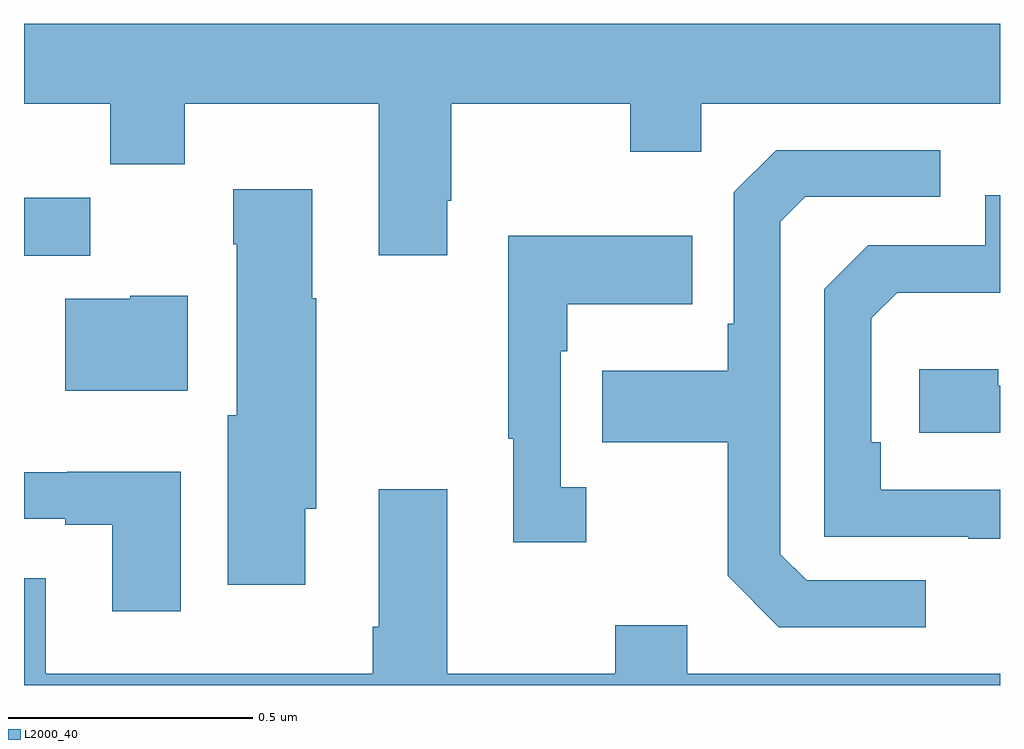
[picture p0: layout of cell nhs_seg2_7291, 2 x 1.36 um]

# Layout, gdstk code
import gdstk
lib = gdstk.Library(unit=1e-6, precision=1e-09)
def R(c, l, rs):  # rectangles x0, y0, x1, y1
    for r in rs: c.add(gdstk.rectangle(r[:2], r[2:], *l))
def P(c, l, *ps):  # polygons
    for p in ps: c.add(gdstk.Polygon(p, *l))
L2000_40 = (2000, 40)

nhs_seg2_7291 = lib.new_cell('nhs_seg2_7291')
R(nhs_seg2_7291, L2000_40, [(202,624.68,202.136,624.799)])
P(nhs_seg2_7291, L2000_40, [(202.867,624.793),(202.875,624.793),(202.875,624.992),(203.242,624.992),(203.242,624.893),(203.388,624.893),(203.388,624.992),(204,624.992),(204,625.156),(202,625.156),(202,624.992),(202.177,624.992),(202.177,624.868),(202.329,624.868),(202.329,624.992),(202.727,624.992),(202.727,624.681),(202.867,624.681)],
  [(203.848,624.015),(203.604,624.015),(203.55,624.069),(203.55,624.75),(203.601,624.801),(203.878,624.801),(203.878,624.897),(203.541,624.897),(203.454,624.81),(203.454,624.541),(203.442,624.541),(203.442,624.445),(203.185,624.445),(203.185,624.298),(203.442,624.298),(203.442,624.025),(203.547,623.919),(203.848,623.919)],
  [(202.576,624.162),(202.599,624.162),(202.599,624.593),(202.591,624.593),(202.591,624.817),(202.429,624.817),(202.429,624.704),(202.436,624.704),(202.436,624.354),(202.418,624.354),(202.418,624.006),(202.576,624.006)],
  [(204,624.201),(203.756,624.201),(203.756,624.298),(203.736,624.298),(203.736,624.552),(203.789,624.605),(204,624.605),(204,624.804),(203.97,624.804),(203.97,624.702),(203.73,624.702),(203.64,624.612),(203.64,624.105),(203.935,624.105),(203.935,624.1),(204,624.1)],
  [(203.152,624.206),(203.1,624.206),(203.1,624.485),(203.113,624.485),(203.113,624.581),(203.369,624.581),(203.369,624.721),(202.992,624.721),(202.992,624.305),(203.003,624.305),(203.003,624.093),(203.152,624.093)],
  [(202.336,624.598),(202.218,624.598),(202.218,624.592),(202.085,624.592),(202.085,624.404),(202.336,624.404)],
  [(204,624.414),(203.996,624.414),(203.996,624.448),(203.835,624.448),(203.835,624.318),(204,624.318)],
  [(202.321,624.238),(202.089,624.238),(202.089,624.237),(202,624.237),(202,624.141),(202.085,624.141),(202.085,624.129),(202.181,624.129),(202.181,623.952),(202.321,623.952)],
  [(204,623.824),(203.359,623.824),(203.359,623.923),(203.212,623.923),(203.212,623.824),(202.867,623.824),(202.867,624.202),(202.727,624.202),(202.727,623.92),(202.715,623.92),(202.715,623.824),(202.045,623.824),(202.045,624.019),(202,624.019),(202,623.8),(204,623.8)])

lib.write_gds('nhs_seg2_7291.gds')
